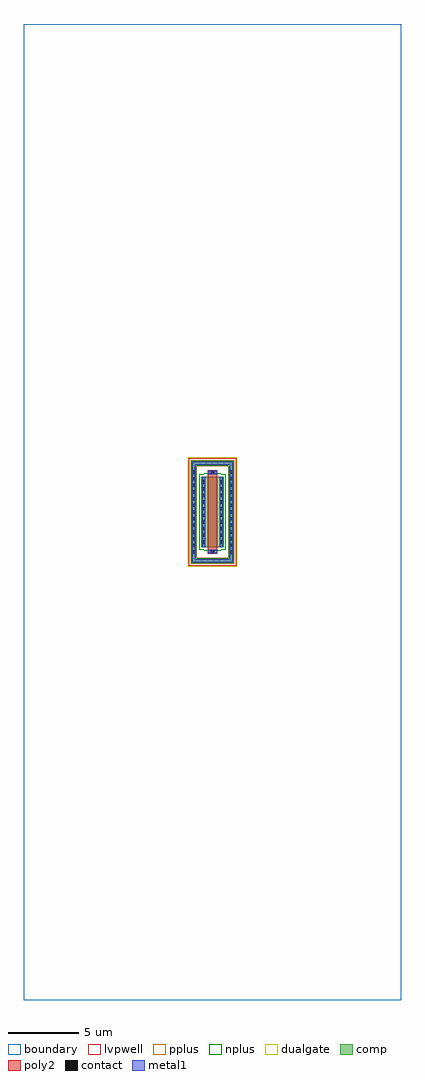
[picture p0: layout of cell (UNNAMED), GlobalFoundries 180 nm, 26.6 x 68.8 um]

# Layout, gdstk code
import gdstk
lib = gdstk.Library(unit=1e-6, precision=1e-09)
def R(c, l, rs):  # rectangles x0, y0, x1, y1
    for r in rs: c.add(gdstk.rectangle(r[:2], r[2:], *l))
def A(c, l, x, y, w, h, nx, ny, dx, dy):  # array of equal rectangles
    R(c, l, [(x+i*dx, y+j*dy, x+i*dx+w, y+j*dy+h) for i in range(nx) for j in range(ny)])
boundary = (0, 0)
comp = (22, 0)
poly2 = (30, 0)
pplus = (31, 0)
nplus = (32, 0)
contact = (33, 0)
metal1 = (34, 0)
dualgate = (55, 0)
lvpwell = (204, 0)

c__unnamed_ = lib.new_cell('(UNNAMED)')
R(c__unnamed_, boundary, [(-13.3,-34.4,13.3,34.4)])
R(c__unnamed_, comp, [(-1.51,-3.62,1.51,-3.26), (-1.51,-3.26,-1.15,3.26), (1.15,-3.26,1.51,3.26), (-0.79,-2.5,0.79,2.5), (-1.51,3.26,1.51,3.62)])
R(c__unnamed_, poly2, [(-0.35,-2.96,0.35,2.96)])
R(c__unnamed_, pplus, [(-1.53,-3.64,1.53,-3.24), (-1.53,-3.24,-1.12,-3.135), (1.12,-3.24,1.53,-3.135), (-1.54,-3.135,-1.12,3.135), (1.12,-3.135,1.54,3.135), (-1.53,3.135,-1.12,3.24), (1.12,3.135,1.53,3.24), (-1.53,3.24,1.53,3.64)])
R(c__unnamed_, nplus, [(-0.58,-2.73,0.58,-2.66), (-0.95,-2.66,0.95,2.66), (-0.58,2.66,0.58,2.73)])
A(c__unnamed_, contact, -1.44, -2.93, 0.22, 0.22, 1, 13, 0, 0.47)
A(c__unnamed_, contact, 1.22, -2.93, 0.22, 0.22, 1, 13, 0, 0.47)
A(c__unnamed_, contact, -0.72, -2.225, 0.22, 0.22, 1, 10, 0, 0.47)
A(c__unnamed_, contact, 0.5, -2.225, 0.22, 0.22, 1, 10, 0, 0.47)
R(c__unnamed_, contact, [(-0.11,-2.89,0.11,-2.67), (-0.11,2.67,0.11,2.89)])
R(c__unnamed_, metal1, [(-1.445,-3.555,1.445,-3.325), (-1.445,-3.325,-1.215,3.325), (1.215,-3.325,1.445,3.325), (-0.34,-2.895,0.34,-2.665), (-0.725,-2.49,-0.495,2.49), (0.495,-2.49,0.725,2.49), (-0.34,2.665,0.34,2.895), (-1.445,3.325,1.445,3.555)])
R(c__unnamed_, dualgate, [(-1.75,-3.86,1.75,3.86)])
R(c__unnamed_, lvpwell, [(-1.67,-3.78,1.67,3.78)])

lib.write_gds('_UNNAMED_.gds')
